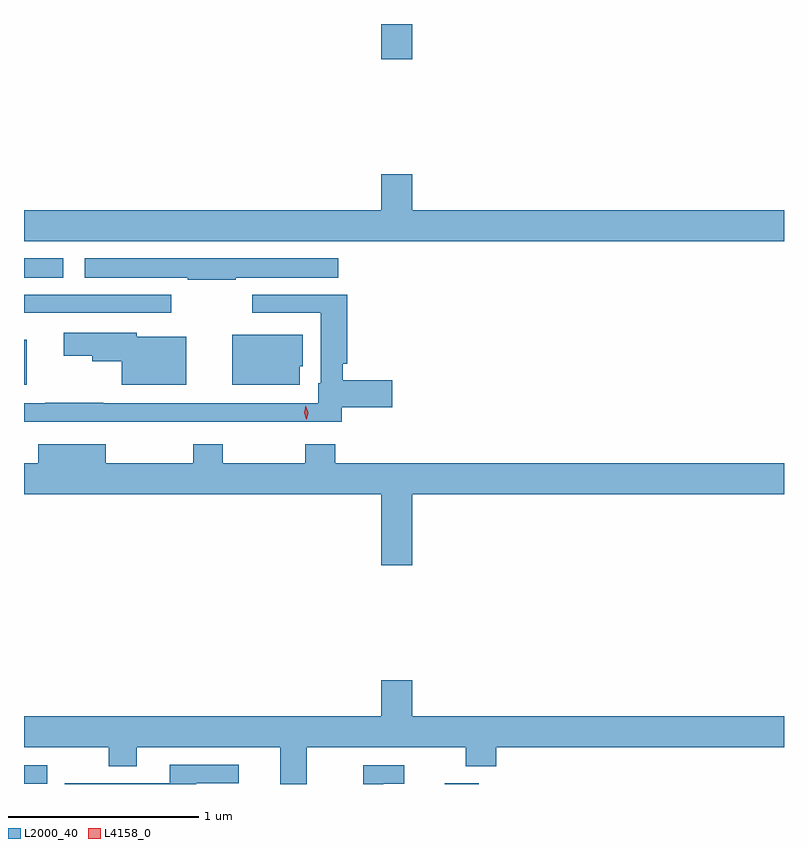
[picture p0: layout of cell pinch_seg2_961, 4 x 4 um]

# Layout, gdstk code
import gdstk
lib = gdstk.Library(unit=1e-6, precision=1e-09)
def R(c, l, rs):  # rectangles x0, y0, x1, y1
    for r in rs: c.add(gdstk.rectangle(r[:2], r[2:], *l))
def P(c, l, *ps):  # polygons
    for p in ps: c.add(gdstk.Polygon(p, *l))
L2000_40 = (2000, 40)
L4158_0 = (4158, 0)

pinch_seg2_961 = lib.new_cell('pinch_seg2_961')
R(pinch_seg2_961, L2000_40, [(201.308,627.463,201.487,627.466), (199.093,627.465,199.216,627.561), (199.093,629.564,199.108,629.8), (199.093,630.128,199.3,630.229), (200.972,631.278,201.136,631.463)])
P(pinch_seg2_961, L2000_40, [(203.093,630.484),(201.136,630.484),(201.136,630.673),(200.972,630.673),(200.972,630.484),(199.093,630.484),(199.093,630.32),(203.093,630.32)],
  [(200.207,630.128),(200.746,630.128),(200.746,630.229),(199.413,630.229),(199.413,630.128),(199.954,630.128),(199.954,630.118),(200.207,630.118)],
  [(199.895,629.37),(200.227,629.37),(200.227,629.369),(200.765,629.369),(200.765,629.446),(201.031,629.446),(201.031,629.588),(200.771,629.588),(200.771,629.675),(200.795,629.675),(200.795,630.039),(200.295,630.039),(200.295,629.943),(200.655,629.943),(200.655,629.571),(200.642,629.571),(200.642,629.466),(199.511,629.466),(199.511,629.469),(199.204,629.469),(199.204,629.466),(199.093,629.466),(199.093,629.37),(199.618,629.37),(199.618,629.369),(199.895,629.369)],
  [(199.214,629.943),(199.867,629.943),(199.867,630.039),(199.093,630.039),(199.093,629.942),(199.214,629.942)],
  [(199.948,629.818),(199.686,629.818),(199.686,629.839),(199.302,629.839),(199.302,629.717),(199.451,629.717),(199.451,629.687),(199.607,629.687),(199.607,629.564),(199.948,629.564)],
  [(200.545,629.661),(200.56,629.661),(200.56,629.827),(200.189,629.827),(200.189,629.564),(200.545,629.564)],
  [(201.136,628.988),(203.093,628.988),(203.093,629.152),(200.732,629.152),(200.732,629.251),(200.572,629.251),(200.572,629.152),(200.139,629.152),(200.139,629.251),(199.984,629.251),(199.984,629.152),(199.522,629.152),(199.522,629.251),(199.169,629.251),(199.169,629.152),(199.093,629.152),(199.093,628.988),(200.972,628.988),(200.972,628.614),(201.136,628.614)],
  [(200.581,627.656),(201.418,627.656),(201.418,627.557),(201.578,627.557),(201.578,627.656),(203.093,627.656),(203.093,627.82),(201.136,627.82),(201.136,628.009),(200.972,628.009),(200.972,627.82),(199.093,627.82),(199.093,627.656),(199.54,627.656),(199.54,627.557),(199.687,627.557),(199.687,627.656),(200.441,627.656),(200.441,627.463),(200.581,627.463)],
  [(199.999,627.468),(200.224,627.468),(200.224,627.564),(199.859,627.564),(199.859,627.468),(199.308,627.468),(199.308,627.463),(199.999,627.463)],
  [(200.983,627.465),(201.094,627.465),(201.094,627.561),(200.879,627.561),(200.879,627.463),(200.983,627.463)])
P(pinch_seg2_961, L4158_0, [(200.579,629.382),(200.568,629.417),(200.575,629.454),(200.575,629.454),(200.576,629.454),(200.588,629.418),(200.58,629.382),(200.58,629.382)])

lib.write_gds('pinch_seg2_961.gds')
